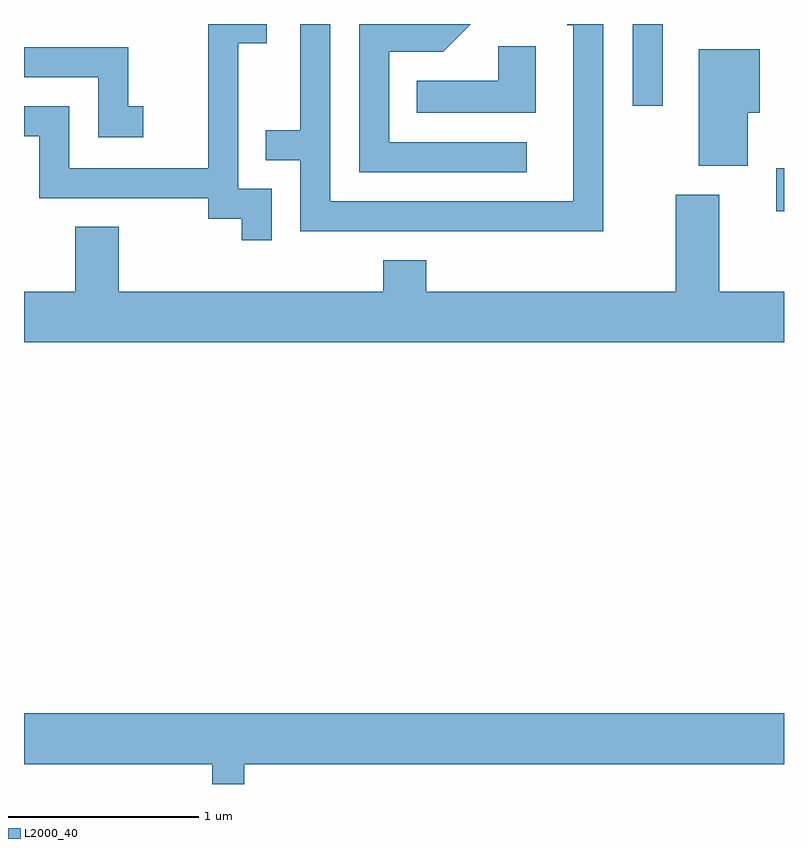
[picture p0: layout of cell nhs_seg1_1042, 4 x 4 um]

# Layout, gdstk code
import gdstk
lib = gdstk.Library(unit=1e-6, precision=1e-09)
def R(c, l, rs):  # rectangles x0, y0, x1, y1
    for r in rs: c.add(gdstk.rectangle(r[:2], r[2:], *l))
def P(c, l, *ps):  # polygons
    for p in ps: c.add(gdstk.Polygon(p, *l))
L2000_40 = (2000, 40)

nhs_seg1_1042 = lib.new_cell('nhs_seg1_1042')
R(nhs_seg1_1042, L2000_40, [(221.571,884.726,221.611,884.954), (220.816,885.283,220.974,885.712)])
P(nhs_seg1_1042, L2000_40, [(220.258,885.089),(219.534,885.089),(219.534,885.566),(219.817,885.566),(219.963,885.712),(219.376,885.712),(219.376,884.931),(220.258,884.931)],
  [(220.659,885.712),(220.471,885.712),(220.471,885.706),(220.501,885.706),(220.501,884.779),(219.224,884.779),(219.224,885.712),(219.066,885.712),(219.066,885.154),(218.883,885.154),(218.883,884.996),(219.066,884.996),(219.066,884.621),(220.659,884.621)],
  [(218.914,884.844),(218.739,884.844),(218.739,885.611),(218.889,885.611),(218.889,885.712),(218.581,885.712),(218.581,884.954),(217.849,884.954),(217.849,885.279),(217.611,885.279),(217.611,885.121),(217.691,885.121),(217.691,884.796),(218.581,884.796),(218.581,884.686),(218.756,884.686),(218.756,884.573),(218.914,884.573)],
  [(220.304,885.594),(220.106,885.594),(220.106,885.414),(219.678,885.414),(219.678,885.246),(220.304,885.246)],
  [(218.238,885.279),(218.159,885.279),(218.159,885.589),(217.611,885.589),(217.611,885.431),(218.001,885.431),(218.001,885.116),(218.238,885.116)],
  [(221.419,885.246),(221.484,885.246),(221.484,885.579),(221.161,885.579),(221.161,884.966),(221.419,884.966)],
  [(221.611,884.304),(221.269,884.304),(221.269,884.814),(221.041,884.814),(221.041,884.304),(219.729,884.304),(219.729,884.469),(219.501,884.469),(219.501,884.304),(218.109,884.304),(218.109,884.644),(217.881,884.644),(217.881,884.304),(217.611,884.304),(217.611,884.036),(221.611,884.036)],
  [(218.769,881.816),(221.611,881.816),(221.611,882.084),(217.611,882.084),(217.611,881.816),(218.601,881.816),(218.601,881.712),(218.769,881.712)])

lib.write_gds('nhs_seg1_1042.gds')
